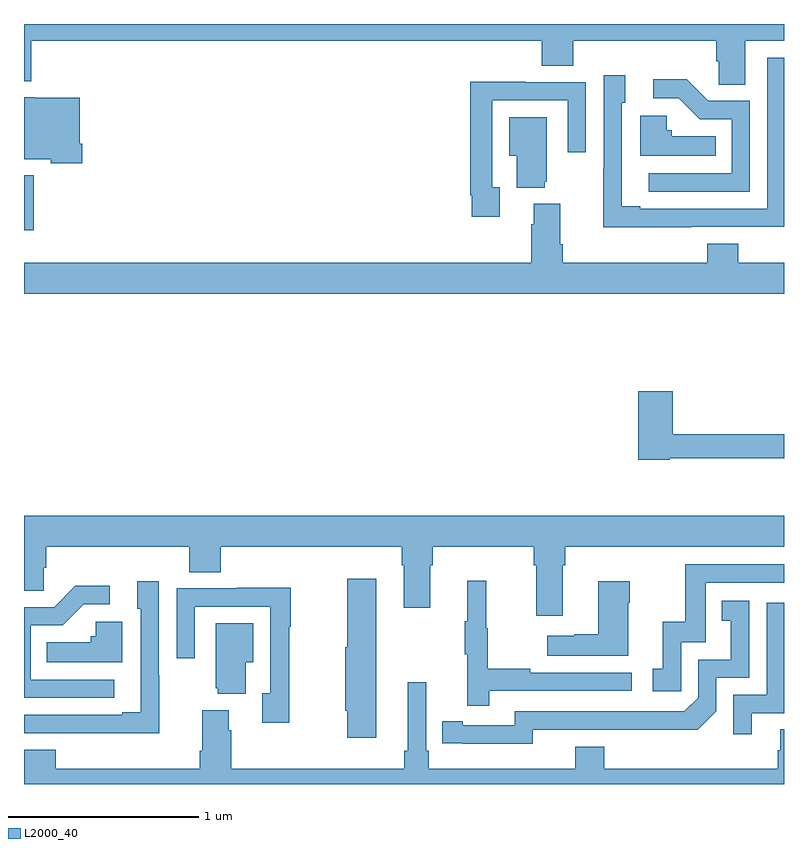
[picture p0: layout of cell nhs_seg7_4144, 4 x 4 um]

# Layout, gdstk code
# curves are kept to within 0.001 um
import gdstk
lib = gdstk.Library(unit=1e-6, precision=1e-09)
def R(c, l, rs):  # rectangles x0, y0, x1, y1
    for r in rs: c.add(gdstk.rectangle(r[:2], r[2:], *l))
def P(c, l, *ps):  # polygons
    for p in ps: c.add(gdstk.Polygon(p, *l))
L2000_40 = (2000, 40)

nhs_seg7_4144 = lib.new_cell('nhs_seg7_4144')
R(nhs_seg7_4144, L2000_40, [(373,1036.914,373.052,1037.203)])
P(nhs_seg7_4144, L2000_40, [(376.795,1037.912),(377,1037.912),(377,1038),(373,1038),(373,1037.699),(373.037,1037.699),(373.037,1037.912),(375.725,1037.912),(375.725,1037.779),(375.89,1037.779),(375.89,1037.912),(376.643,1037.912),(376.643,1037.803),(376.656,1037.803),(376.656,1037.68),(376.795,1037.68)],
  [(376.511,1036.932),(377,1036.932),(377,1037.823),(376.911,1037.823),(376.911,1037.028),(376.243,1037.028),(376.243,1037.041),(376.146,1037.041),(376.146,1037.586),(376.165,1037.586),(376.165,1037.731),(376.05,1037.731),(376.05,1037.237),(376.048,1037.237),(376.048,1036.93),(376.511,1036.93)],
  [(376.821,1037.595),(376.602,1037.595),(376.489,1037.708),(376.311,1037.708),(376.311,1037.61),(376.445,1037.61),(376.556,1037.499),(376.725,1037.499),(376.725,1037.214),(376.287,1037.214),(376.287,1037.118),(376.821,1037.118)],
  [(375.505,1037.142),(375.465,1037.142),(375.465,1037.598),(375.861,1037.598),(375.861,1037.325),(375.957,1037.325),(375.957,1037.694),(375.641,1037.694),(375.641,1037.696),(375.349,1037.696),(375.349,1037.098),(375.357,1037.098),(375.357,1036.986),(375.505,1036.986)],
  [(373.307,1037.371),(373.294,1037.371),(373.294,1037.611),(373.056,1037.611),(373.056,1037.614),(373,1037.614),(373,1037.288),(373.14,1037.288),(373.14,1037.267),(373.307,1037.267)],
  [(376.64,1037.41),(376.41,1037.41),(376.41,1037.442),(376.383,1037.442),(376.383,1037.518),(376.244,1037.518),(376.244,1037.306),(376.64,1037.306)],
  [(375.74,1037.169),(375.751,1037.169),(375.751,1037.509),(375.554,1037.509),(375.554,1037.306),(375.593,1037.306),(375.593,1037.138),(375.74,1037.138)],
  [(377,1036.744),(376.76,1036.744),(376.76,1036.843),(376.595,1036.843),(376.595,1036.744),(375.836,1036.744),(375.836,1036.84),(375.823,1036.84),(375.823,1037.053),(375.683,1037.053),(375.683,1036.946),(375.671,1036.946),(375.671,1036.744),(373,1036.744),(373,1036.58),(377,1036.58)],
  [(376.398,1035.714),(377,1035.714),(377,1035.842),(376.415,1035.842),(376.415,1036.066),(376.232,1036.066),(376.232,1035.706),(376.398,1035.706)],
  [(375.835,1035.152),(375.848,1035.152),(375.848,1035.248),(377,1035.248),(377,1035.412),(373,1035.412),(373,1035.016),(373.104,1035.016),(373.104,1035.139),(373.118,1035.139),(373.118,1035.248),(373.871,1035.248),(373.871,1035.115),(374.036,1035.115),(374.036,1035.248),(374.987,1035.248),(374.987,1035.152),(374.999,1035.152),(374.999,1034.928),(375.139,1034.928),(375.139,1035.152),(375.152,1035.152),(375.152,1035.248),(375.683,1035.248),(375.683,1035.152),(375.695,1035.152),(375.695,1034.886),(375.835,1034.886)],
  [(376.458,1034.745),(376.587,1034.745),(376.587,1035.06),(377,1035.06),(377,1035.156),(376.479,1035.156),(376.479,1034.853),(376.361,1034.853),(376.361,1034.607),(376.308,1034.607),(376.308,1034.487),(376.458,1034.487)],
  [(374.854,1035.079),(374.701,1035.079),(374.701,1034.721),(374.69,1034.721),(374.69,1034.385),(374.701,1034.385),(374.701,1034.244),(374.854,1034.244)],
  [(375.449,1034.49),(376.198,1034.49),(376.198,1034.586),(375.665,1034.586),(375.665,1034.606),(375.442,1034.606),(375.442,1034.82),(375.434,1034.82),(375.434,1035.07),(375.332,1035.07),(375.332,1034.857),(375.321,1034.857),(375.321,1034.683),(375.332,1034.683),(375.332,1034.412),(375.449,1034.412)],
  [(373.713,1034.573),(373.71,1034.573),(373.71,1035.067),(373.595,1035.067),(373.595,1034.922),(373.614,1034.922),(373.614,1034.377),(373.517,1034.377),(373.517,1034.364),(373,1034.364),(373,1034.268),(373.249,1034.268),(373.249,1034.267),(373.713,1034.267)],
  [(376.18,1034.954),(376.188,1034.954),(376.188,1035.067),(376.022,1035.067),(376.022,1034.789),(375.896,1034.789),(375.896,1034.779),(375.753,1034.779),(375.753,1034.675),(376.18,1034.675)],
  [(373.474,1034.55),(373.035,1034.55),(373.035,1034.835),(373.204,1034.835),(373.315,1034.946),(373.45,1034.946),(373.45,1035.044),(373.271,1035.044),(373.158,1034.931),(373,1034.931),(373,1034.454),(373.474,1034.454)],
  [(374.396,1034.827),(374.404,1034.827),(374.404,1035.032),(374.119,1035.032),(374.119,1035.03),(373.803,1035.03),(373.803,1034.661),(373.899,1034.661),(373.899,1034.934),(374.295,1034.934),(374.295,1034.478),(374.255,1034.478),(374.255,1034.322),(374.396,1034.322)],
  [(375.678,1034.286),(376.546,1034.285),(376.644,1034.382),(376.644,1034.559),(376.818,1034.559),(376.818,1034.965),(376.672,1034.965),(376.672,1034.859),(376.721,1034.859),(376.721,1034.655),(376.548,1034.655),(376.548,1034.454),(376.476,1034.382),(375.582,1034.382),(375.582,1034.31),(375.31,1034.31),(375.31,1034.33),(375.202,1034.33),(375.202,1034.214),(375.678,1034.213)],
  [(376.831,1034.373),(377,1034.373),(377,1034.955),(376.908,1034.955),(376.908,1034.469),(376.734,1034.469),(376.734,1034.262),(376.831,1034.262)],
  [(373.516,1034.854),(373.377,1034.854),(373.377,1034.778),(373.351,1034.778),(373.351,1034.746),(373.12,1034.746),(373.12,1034.642),(373.516,1034.642)],
  [(374.167,1034.642),(374.206,1034.642),(374.206,1034.845),(374.009,1034.845),(374.009,1034.505),(374.021,1034.505),(374.021,1034.474),(374.167,1034.474)],
  [(377,1034.288),(376.979,1034.288),(376.979,1034.178),(376.967,1034.178),(376.967,1034.08),(376.055,1034.08),(376.055,1034.197),(375.902,1034.197),(375.902,1034.08),(375.131,1034.08),(375.131,1034.176),(375.117,1034.176),(375.117,1034.536),(375.02,1034.536),(375.02,1034.176),(375.001,1034.176),(375.001,1034.08),(374.09,1034.08),(374.09,1034.282),(374.077,1034.282),(374.077,1034.389),(373.937,1034.389),(373.937,1034.176),(373.925,1034.176),(373.925,1034.08),(373.166,1034.08),(373.166,1034.179),(373.001,1034.179),(373.001,1034.08),(373,1034.08),(373,1034),(377,1034)])

lib.write_gds('nhs_seg7_4144.gds')
